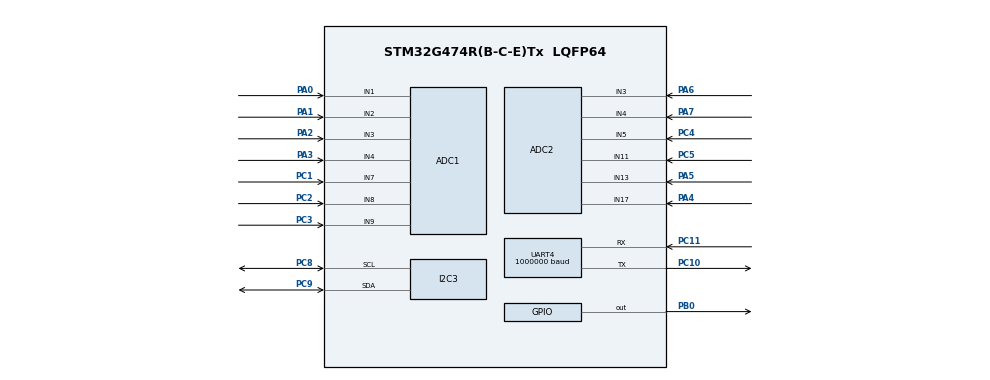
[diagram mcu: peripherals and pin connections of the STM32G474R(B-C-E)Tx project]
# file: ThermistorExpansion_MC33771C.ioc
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ADC1.Channel-0\#ChannelRegularConversion=ADC_CHANNEL_1
ADC1.Channel-1\#ChannelRegularConversion=ADC_CHANNEL_2
ADC1.Channel-2\#ChannelRegularConversion=ADC_CHANNEL_3
ADC1.Channel-3\#ChannelRegularConversion=ADC_CHANNEL_4
ADC1.Channel-4\#ChannelRegularConversion=ADC_CHANNEL_7
ADC1.Channel-5\#ChannelRegularConversion=ADC_CHANNEL_8
ADC1.Channel-6\#ChannelRegularConversion=ADC_CHANNEL_9
ADC1.ClockPrescaler=ADC_CLOCK_SYNC_PCLK_DIV4
ADC1.ContinuousConvMode=DISABLE
ADC1.DMAContinuousRequests=ENABLE
ADC1.ExternalTrigConv=ADC_EXTERNALTRIG_T2_TRGO
ADC1.NbrOfConversion=7
ADC1.NbrOfConversionFlag=1
ADC1.OffsetNumber-0\#ChannelRegularConversion=ADC_OFFSET_NONE
ADC1.OffsetNumber-1\#ChannelRegularConversion=ADC_OFFSET_NONE
ADC1.OffsetNumber-2\#ChannelRegularConversion=ADC_OFFSET_NONE
ADC1.OffsetNumber-3\#ChannelRegularConversion=ADC_OFFSET_NONE
ADC1.OffsetNumber-4\#ChannelRegularConversion=ADC_OFFSET_NONE
ADC1.OffsetNumber-5\#ChannelRegularConversion=ADC_OFFSET_NONE
ADC1.OffsetNumber-6\#ChannelRegularConversion=ADC_OFFSET_NONE
ADC1.Rank-0\#ChannelRegularConversion=1
ADC1.Rank-1\#ChannelRegularConversion=2
ADC1.Rank-2\#ChannelRegularConversion=3
ADC1.Rank-3\#ChannelRegularConversion=4
ADC1.Rank-4\#ChannelRegularConversion=5
ADC1.Rank-5\#ChannelRegularConversion=6
ADC1.Rank-6\#ChannelRegularConversion=7
ADC1.SamplingTime-0\#ChannelRegularConversion=ADC_SAMPLETIME_640CYCLES_5
ADC1.SamplingTime-1\#ChannelRegularConversion=ADC_SAMPLETIME_640CYCLES_5
ADC1.SamplingTime-2\#ChannelRegularConversion=ADC_SAMPLETIME_640CYCLES_5
ADC1.SamplingTime-3\#ChannelRegularConversion=ADC_SAMPLETIME_2CYCLES_5
ADC1.SamplingTime-4\#ChannelRegularConversion=ADC_SAMPLETIME_2CYCLES_5
ADC1.SamplingTime-5\#ChannelRegularConversion=ADC_SAMPLETIME_2CYCLES_5
ADC1.SamplingTime-6\#ChannelRegularConversion=ADC_SAMPLETIME_2CYCLES_5
ADC1.master=1
ADC2.Channel-0\#ChannelRegularConversion=ADC_CHANNEL_3
ADC2.Channel-1\#ChannelRegularConversion=ADC_CHANNEL_4
ADC2.Channel-2\#ChannelRegularConversion=ADC_CHANNEL_5
ADC2.Channel-3\#ChannelRegularConversion=ADC_CHANNEL_11
ADC2.Channel-4\#ChannelRegularConversion=ADC_CHANNEL_13
ADC2.Channel-5\#ChannelRegularConversion=ADC_CHANNEL_17
ADC2.ClockPrescaler=ADC_CLOCK_SYNC_PCLK_DIV4
ADC2.ContinuousConvMode=DISABLE
ADC2.DMAContinuousRequests=ENABLE
ADC2.ExternalTrigConv=ADC_EXTERNALTRIG_T2_TRGO
ADC2.NbrOfConversion=6
ADC2.NbrOfConversionFlag=1
ADC2.OffsetNumber-0\#ChannelRegularConversion=ADC_OFFSET_NONE
ADC2.OffsetNumber-1\#ChannelRegularConversion=ADC_OFFSET_NONE
ADC2.OffsetNumber-2\#ChannelRegularConversion=ADC_OFFSET_NONE
ADC2.OffsetNumber-3\#ChannelRegularConversion=ADC_OFFSET_NONE
ADC2.OffsetNumber-4\#ChannelRegularConversion=ADC_OFFSET_NONE
ADC2.OffsetNumber-5\#ChannelRegularConversion=ADC_OFFSET_NONE
ADC2.Rank-0\#ChannelRegularConversion=1
ADC2.Rank-1\#ChannelRegularConversion=2
ADC2.Rank-2\#ChannelRegularConversion=3
ADC2.Rank-3\#ChannelRegularConversion=4
ADC2.Rank-4\#ChannelRegularConversion=5
ADC2.Rank-5\#ChannelRegularConversion=6
ADC2.SamplingTime-0\#ChannelRegularConversion=ADC_SAMPLETIME_640CYCLES_5
ADC2.SamplingTime-1\#ChannelRegularConversion=ADC_SAMPLETIME_640CYCLES_5
ADC2.SamplingTime-2\#ChannelRegularConversion=ADC_SAMPLETIME_640CYCLES_5
ADC2.SamplingTime-3\#ChannelRegularConversion=ADC_SAMPLETIME_640CYCLES_5
ADC2.SamplingTime-4\#ChannelRegularConversion=ADC_SAMPLETIME_640CYCLES_5
ADC2.SamplingTime-5\#ChannelRegularConversion=ADC_SAMPLETIME_640CYCLES_5
Dma.ADC1.1.Direction=DMA_PERIPH_TO_MEMORY
Dma.ADC1.1.EventEnable=DISABLE
Dma.ADC1.1.Instance=DMA1_Channel1
Dma.ADC1.1.MemDataAlignment=DMA_MDATAALIGN_HALFWORD
Dma.ADC1.1.MemInc=DMA_MINC_ENABLE
Dma.ADC1.1.Mode=DMA_CIRCULAR
Dma.ADC1.1.PeriphDataAlignment=DMA_PDATAALIGN_HALFWORD
Dma.ADC1.1.PeriphInc=DMA_PINC_DISABLE
Dma.ADC1.1.Polarity=HAL_DMAMUX_REQ_GEN_RISING
Dma.ADC1.1.Priority=DMA_PRIORITY_LOW
Dma.ADC1.1.RequestNumber=1
Dma.ADC1.1.SignalID=NONE
Dma.ADC1.1.SyncEnable=DISABLE
Dma.ADC1.1.SyncPolarity=HAL_DMAMUX_SYNC_NO_EVENT
Dma.ADC1.1.SyncRequestNumber=1
Dma.ADC1.1.SyncSignalID=NONE
Dma.ADC2.0.Direction=DMA_PERIPH_TO_MEMORY
Dma.ADC2.0.EventEnable=DISABLE
Dma.ADC2.0.Instance=DMA1_Channel2
Dma.ADC2.0.MemDataAlignment=DMA_MDATAALIGN_HALFWORD
Dma.ADC2.0.MemInc=DMA_MINC_ENABLE
Dma.ADC2.0.Mode=DMA_CIRCULAR
Dma.ADC2.0.PeriphDataAlignment=DMA_PDATAALIGN_HALFWORD
Dma.ADC2.0.PeriphInc=DMA_PINC_DISABLE
Dma.ADC2.0.Polarity=HAL_DMAMUX_REQ_GEN_RISING
Dma.ADC2.0.Priority=DMA_PRIORITY_LOW
Dma.ADC2.0.RequestNumber=1
Dma.ADC2.0.SignalID=NONE
Dma.ADC2.0.SyncEnable=DISABLE
Dma.ADC2.0.SyncPolarity=HAL_DMAMUX_SYNC_NO_EVENT
Dma.ADC2.0.SyncRequestNumber=1
Dma.ADC2.0.SyncSignalID=NONE
Dma.Request0=ADC2
Dma.Request1=ADC1
I2C3.DualAddressMode=I2C_DUALADDRESS_DISABLE
I2C3.OwnAddress=80
I2C3.Timing=0x00503D58
Mcu.Family=STM32G4
Mcu.Name=STM32G474R(B-C-E)Tx
Mcu.Package=LQFP64
NVIC.DMA1_Channel1_IRQn=true\:0\:0\:false\:false\:true\:false\:true\:true
NVIC.DMA1_Channel2_IRQn=true\:0\:0\:false\:false\:true\:false\:true\:true
NVIC.I2C3_ER_IRQn=true\:0\:0\:false\:false\:true\:true\:true\:true
NVIC.I2C3_EV_IRQn=true\:0\:0\:false\:false\:true\:true\:true\:true
NVIC.PriorityGroup=NVIC_PRIORITYGROUP_4
NVIC.TIM2_IRQn=true\:0\:0\:false\:false\:true\:true\:true\:true
PA0.Mode=IN1-Single-Ended
PA0.Signal=ADC1_IN1
PA1.Mode=IN2-Single-Ended
PA1.Signal=ADC1_IN2
PA13.Mode=Serial_Wire
PA13.Signal=SYS_JTMS-SWDIO
PA14.Mode=Serial_Wire
PA14.Signal=SYS_JTCK-SWCLK
PA2.Mode=IN3-Single-Ended
PA2.Signal=ADC1_IN3
PA3.Mode=IN4-Single-Ended
PA3.Signal=ADC1_IN4
PA4.Mode=IN17-Single-Ended
PA4.Signal=ADC2_IN17
PA5.Mode=IN13-Single-Ended
PA5.Signal=ADC2_IN13
PA6.Mode=IN3-Single-Ended
PA6.Signal=ADC2_IN3
PA7.Mode=IN4-Single-Ended
PA7.Signal=ADC2_IN4
PB0.PinState=GPIO_PIN_SET
PB0.Signal=GPIO_Output
PC1.Mode=IN7-Single-Ended
PC1.Signal=ADC1_IN7
PC10.Mode=Asynchronous
PC10.Signal=UART4_TX
PC11.Mode=Asynchronous
PC11.Signal=UART4_RX
PC2.Mode=IN8-Single-Ended
PC2.Signal=ADC1_IN8
PC3.Mode=IN9-Single-Ended
PC3.Signal=ADC1_IN9
PC4.Mode=IN5-Single-Ended
PC4.Signal=ADC2_IN5
PC5.Mode=IN11-Single-Ended
PC5.Signal=ADC2_IN11
PC8.Mode=I2C
PC8.Signal=I2C3_SCL
PC9.Mode=I2C
PC9.Signal=I2C3_SDA
ProjectManager.HeapSize=0x200
ProjectManager.StackSize=0x400
ProjectManager.TargetToolchain=CMake
RCC.ADC12Freq_Value=16000000
RCC.ADC345Freq_Value=16000000
RCC.AHBFreq_Value=16000000
RCC.APB1Freq_Value=16000000
RCC.APB1TimFreq_Value=16000000
RCC.APB2Freq_Value=16000000
RCC.APB2TimFreq_Value=16000000
RCC.CortexFreq_Value=16000000
RCC.DATA_CACHE_ENABLE=1
RCC.EXTERNAL_CLOCK_VALUE=12288000
RCC.HCLKFreq_Value=16000000
RCC.HSE_VALUE=8000000
RCC.HSI48_VALUE=48000000
RCC.HSI_VALUE=16000000
RCC.LSE_VALUE=32768
RCC.PWR_Regulator_Voltage_Scale=PWR_REGULATOR_VOLTAGE_SCALE2
RCC.SYSCLKFreq_VALUE=16000000
RCC.USBFreq_Value=64000000
RCC.VCOOutputFreq_Value=128000000
RCC.VDD_VALUE=3.3
TIM2.PeriodNoDither=1000
TIM2.Prescaler=15999
TIM2.TIM_MasterOutputTrigger=TIM_TRGO_UPDATE
UART4.BaudRate=1000000
UART4.Mode=MODE_TX
VP_SYS_VS_DBSignals.Mode=DisableDeadBatterySignals
VP_SYS_V_VREFBUF.Mode=ExternalMode
VP_TIM2_VS_ClockSourceINT.Mode=Internal
board=custom

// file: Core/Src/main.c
/* USER CODE BEGIN Header */
/**
  ******************************************************************************
  * @file           : main.c
  * @brief          : Main program body
  ******************************************************************************
  * @attention
  *
  * Copyright (c) 2025 STMicroelectronics.
  * All rights reserved.
  *
  * This software is licensed under terms that can be found in the LICENSE file
  * in the root directory of this software component.
  * If no LICENSE file comes with this software, it is provided AS-IS.
  *
  ******************************************************************************
  */
/* USER CODE END Header */
#include "main.h"
#include "adc.h"
#include "dma.h"
#include "i2c.h"
#include "tim.h"
#include "usart.h"
#include "gpio.h"

/* USER CODE BEGIN Includes */
#include <math.h>
#include <stdio.h>
/* USER CODE END Includes */

/* USER CODE BEGIN PV */
volatile uint16_t ADC_data[15];
volatile uint8_t cursor = 0;
volatile float temperatures[13];
volatile uint8_t EEPROM_data[256] = {0};
volatile uint8_t ADC_update_flag = 0; // [NA|NA|NA|NA|NA|NA|ADC2|ADC1]
char printBuffer[256] = {0};
/* USER CODE END PV */

void SystemClock_Config(void);
/* USER CODE BEGIN PFP */
float V2T(float voltage, float B);
void I2C_reset();
void print(char* arr) {
  uint32_t idx = 0; // index
  while (arr[idx]) {
    while (!LL_USART_IsActiveFlag_TXE(UART4));
    LL_USART_TransmitData8(UART4, arr[idx]);
    idx++;
  }
}
/* USER CODE END PFP */

int main(void)
{

  /* MCU Configuration--------------------------------------------------------*/

  /* Reset of all peripherals, Initializes the Flash interface and the Systick. */
  LL_APB2_GRP1_EnableClock(LL_APB2_GRP1_PERIPH_SYSCFG);
  LL_APB1_GRP1_EnableClock(LL_APB1_GRP1_PERIPH_PWR);

  /* System interrupt init*/
  NVIC_SetPriorityGrouping(NVIC_PRIORITYGROUP_4);

  /* SysTick_IRQn interrupt configuration */
  NVIC_SetPriority(SysTick_IRQn, NVIC_EncodePriority(NVIC_GetPriorityGrouping(),15, 0));

  /** Disable the Internal Voltage Reference buffer
  */
  LL_VREFBUF_Disable();

  /** Configure the internal voltage reference buffer high impedance mode
  */
  LL_VREFBUF_EnableHIZ();

  /** Disable the internal Pull-Up in Dead Battery pins of UCPD peripheral
  */
  LL_PWR_DisableUCPDDeadBattery();

  /* Configure the system clock */
  SystemClock_Config();

  /* Initialize all configured peripherals */
  MX_GPIO_Init();
  MX_DMA_Init();
  MX_ADC1_Init();
  MX_ADC2_Init();
  MX_I2C3_Init();
  MX_UART4_Init();
  MX_TIM2_Init();
  /* USER CODE BEGIN 2 */
  // Enable I2C
  LL_I2C_Enable(I2C3);
  // Enable all I²C-slave interrupts we rely on
  LL_I2C_EnableIT_ADDR(I2C3);
  LL_I2C_EnableIT_STOP(I2C3);
  LL_I2C_EnableIT_NACK(I2C3);
  LL_I2C_EnableIT_ERR(I2C3);
  // Flush flags that CubeMX leaves uncleared
  LL_I2C_ClearFlag_ADDR(I2C3);
  LL_I2C_ClearFlag_STOP(I2C3);
  LL_I2C_ClearFlag_NACK(I2C3);

  // Enable ADC1 with DMA
  LL_ADC_Enable(ADC1);
  while (!LL_ADC_IsActiveFlag_ADRDY(ADC1));
  LL_DMA_SetPeriphAddress(DMA1, LL_DMA_CHANNEL_1, (uint32_t)&ADC1->DR);
  LL_DMA_SetMemoryAddress(DMA1, LL_DMA_CHANNEL_1, (uint32_t)&ADC_data[0]);
  LL_DMA_SetDataLength(DMA1, LL_DMA_CHANNEL_1, 7);
  LL_DMA_EnableChannel(DMA1, LL_DMA_CHANNEL_1);
  LL_DMA_EnableIT_TC(DMA1, LL_DMA_CHANNEL_1);
  LL_ADC_REG_StartConversion(ADC1);

  // Enable ADC2 with DMA
  LL_ADC_Enable(ADC2);
  while (!LL_ADC_IsActiveFlag_ADRDY(ADC2));
  LL_DMA_SetPeriphAddress(DMA1, LL_DMA_CHANNEL_2, (uint32_t)&ADC2->DR);
  LL_DMA_SetMemoryAddress(DMA1, LL_DMA_CHANNEL_2, (uint32_t)&ADC_data[7]);
  LL_DMA_SetDataLength(DMA1, LL_DMA_CHANNEL_2, 6);
  LL_DMA_EnableChannel(DMA1, LL_DMA_CHANNEL_2);
  LL_DMA_EnableIT_TC(DMA1, LL_DMA_CHANNEL_2);
  LL_ADC_REG_StartConversion(ADC2);

  // Enable TIM2 (ADC trigger)
  // LL_TIM_EnableIT_UPDATE(TIM2);
  LL_TIM_EnableCounter(TIM2);
  /* USER CODE END 2 */

  /* Infinite loop */
  /* USER CODE BEGIN WHILE */
  LL_GPIO_ResetOutputPin(GPIOB, LL_GPIO_PIN_0);
  while (1)
  {
    if (ADC_update_flag & 1U) {
      // ADC1 finished conversion sequence
      ADC_update_flag &= ~1U;
      for (uint8_t i = 0; i < 7; i++) {
        EEPROM_data[i] = ADC_data[i] >> 4;
        temperatures[i] = V2T((float)ADC_data[i] / 4096.0f, 4200.0f);
        EEPROM_data[i + 32] = (uint8_t)fminf(fmaxf(temperatures[i] + 40.0f, 0), 255);
        sprintf(printBuffer, "Ch%u: %3.01f  ", i, temperatures[i]);
        // sprintf(printBuffer, "Ch%u: %u  ", i, ADC_data[i]);
        print(printBuffer);
      }
      print("\n");
    }
    if (ADC_update_flag & 2U) {
      // ADC2 finished conversion sequence
      ADC_update_flag &= ~2U;
      for (uint8_t i = 7; i < 13; i++) {
        EEPROM_data[i] = ADC_data[i] >> 4;
        temperatures[i] = V2T((float)ADC_data[i] / 4096.0f, 4200.0f);
        EEPROM_data[i + 32] = (uint8_t)fminf(fmaxf(temperatures[i] + 40.0f, 0), 255);
        sprintf(printBuffer, "Ch%u: %3.01f  ", i, temperatures[i]);
        // sprintf(printBuffer, "Ch%u: %u  ", i, ADC_data[i]);
        print(printBuffer);
      }
      print("\n");
    }
    /* USER CODE END WHILE */

  }
}

void SystemClock_Config(void)
{
  LL_FLASH_SetLatency(LL_FLASH_LATENCY_1);
  while(LL_FLASH_GetLatency() != LL_FLASH_LATENCY_1)
  {
  }
  LL_PWR_SetRegulVoltageScaling(LL_PWR_REGU_VOLTAGE_SCALE2);
  LL_RCC_HSI_Enable();
   /* Wait till HSI is ready */
  while(LL_RCC_HSI_IsReady() != 1)
  {
  }

  LL_RCC_HSI_SetCalibTrimming(64);
  LL_RCC_SetSysClkSource(LL_RCC_SYS_CLKSOURCE_HSI);
   /* Wait till System clock is ready */
  while(LL_RCC_GetSysClkSource() != LL_RCC_SYS_CLKSOURCE_STATUS_HSI)
  {
  }

  /* Set AHB prescaler*/
  LL_RCC_SetAHBPrescaler(LL_RCC_SYSCLK_DIV_1);
  LL_RCC_SetAPB1Prescaler(LL_RCC_APB1_DIV_1);
  LL_RCC_SetAPB2Prescaler(LL_RCC_APB2_DIV_1);

  LL_Init1msTick(16000000);

  LL_SetSystemCoreClock(16000000);
}

/* USER CODE BEGIN 4 */
float V2T(float ratio, float B) {
  ratio = fmaxf(ratio, 0.001f);
  ratio = fminf(ratio, 0.999f);
  float R = ratio / (1.0f - ratio) * 47.0f;
  float T = 1.0f / ((logf(R / 100.0f) / B) + (1.0f / 298.15f));
  return T - 273.15f;
}

void I2C_reset() {
  cursor = 0;
  LL_I2C_Disable(I2C3);
  LL_I2C_ClearFlag_ADDR(I2C3);
  LL_I2C_ClearFlag_ARLO(I2C3);
  LL_I2C_ClearFlag_BERR(I2C3);
  LL_I2C_ClearFlag_NACK(I2C3);
  LL_I2C_ClearFlag_OVR(I2C3);
  LL_I2C_ClearFlag_STOP(I2C3);
  LL_I2C_ClearFlag_TXE(I2C3);
  LL_mDelay(1);
  LL_I2C_Enable(I2C3);
}
/* USER CODE END 4 */

void Error_Handler(void)
{
  __disable_irq();
  while (1)
  {
  }
}
